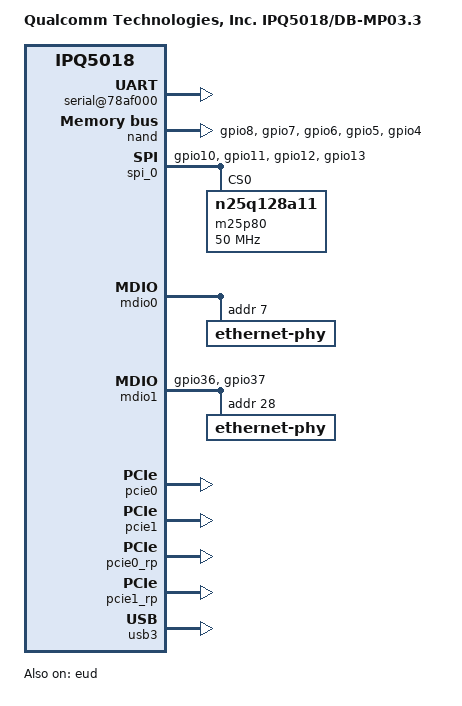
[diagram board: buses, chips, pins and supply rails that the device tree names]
/dts-v1/;
/* Copyright (c) 2018-2020, The Linux Foundation. All rights reserved.
 *
 * Permission to use, copy, modify, and/or distribute this software for any
 * purpose with or without fee is hereby granted, provided that the above
 * copyright notice and this permission notice appear in all copies.
 *
 * THE SOFTWARE IS PROVIDED "AS IS" AND THE AUTHOR DISCLAIMS ALL WARRANTIES
 * WITH REGARD TO THIS SOFTWARE INCLUDING ALL IMPLIED WARRANTIES OF
 * MERCHANTABILITY AND FITNESS. IN NO EVENT SHALL THE AUTHOR BE LIABLE FOR
 * ANY SPECIAL, DIRECT, INDIRECT, OR CONSEQUENTIAL DAMAGES OR ANY DAMAGES
 * WHATSOEVER RESULTING FROM LOSS OF USE, DATA OR PROFITS, WHETHER IN AN
 * ACTION OF CONTRACT, NEGLIGENCE OR OTHER TORTIOUS ACTION, ARISING OUT OF
 * OR IN CONNECTION WITH THE USE OR PERFORMANCE OF THIS SOFTWARE.
 */

#include "qcom-ipq5018.dtsi"

/ {
	#address-cells = <0x2>;
	#size-cells = <0x2>;
	model = "Qualcomm Technologies, Inc. IPQ5018/DB-MP03.3";
	compatible = "qcom,ipq5018-db-mp03.3", "qcom,ipq5018";
	interrupt-parent = <&intc>;

	aliases {
		sdhc1 = &sdhc_1; /* SDC1 eMMC slot */
		serial0 = &blsp1_uart1;
	};

	chosen {
		linux,initrd-end = <0x46000000>;
		linux,initrd-start = <0x44000000>;
		bootargs = "root=/dev/ram0 rw init=/init";
		stdout-path = "serial0";
	};

	soc {
		gcc: gcc@1800000 {
			gcc-use-dummy;
		};

		serial@78af000 {
			status = "ok";
		};

		qpic_bam: dma@7984000{
			status = "ok";
		};

		nand: qpic-nand@79b0000 {
			pinctrl-0 = <&qspi_nand_pins>;
			pinctrl-names = "default";
			status = "ok";
		};

		spi_0: spi@78b5000 { /* BLSP1 QUP0 */
			pinctrl-0 = <&blsp0_spi_pins>;
			pinctrl-names = "default";
			cs-select = <0>;
			status = "ok";

			m25p80@0 {
				#address-cells = <1>;
				#size-cells = <1>;
				reg = <0>;
				compatible = "n25q128a11";
				linux,modalias = "m25p80", "n25q128a11";
				spi-max-frequency = <50000000>;
				use-default-sizes;
			};
		};

		mdio0: mdio@88000 {
			status = "ok";

			ethernet-phy@0 {
				reg = <7>;
			};
		};

		mdio1: mdio@90000 {
			status = "ok";
			pinctrl-0 = <&mdio1_pins>;
			pinctrl-names = "default";
			phy-reset-gpio = <&tlmm 39 0>;

			ethernet-phy@0 {
				reg = <28>;
			};
		};

		ess-instance {
			num_devices = <0x1>;
			ess-switch@0x39c00000 {
				switch_mac_mode = <0xf>; /* mac mode for uniphy instance*/
				qcom,port_phyinfo {
					port@0 {
						port_id = <1>;
						phy_address = <7>;
					};
					port@1 {
						port_id = <2>;
						phy_address = <0x1c>;
					};
				};
			};
		};

		pcie0: pci@80000000 {
			status = "ok";
		};

		pcie1: pci@a0000000 {
			status = "ok";
		};

		wifi0: wifi@c000000 {
			status = "disabled";
		};

		qcom,test@0 {
			status = "ok";
		};

		pcie0_rp {
		        status = "ok";

			mhi_0: qcom,mhi@0 {
				reg = <0 0 0 0 0 >;
				qrtr_instance_id = <0x8001>;
			};
		};

		pcie1_rp {
		        status = "ok";

			mhi_1: qcom,mhi@1 {
				reg = <0 0 0 0 0 >;
				qrtr_instance_id = <0x8002>;
			};
		};
	};
};

&tlmm {
	pinctrl-0 = <&uart_pins>;
	pinctrl-names = "default";

	uart_pins: uart_pins {
		uart_rx_tx {
			pins = "gpio20", "gpio21";
			function = "blsp0_uart0";
			bias-disable;
		};
	};

	blsp0_spi_pins: blsp0_spi_pins {
		mux {
			pins = "gpio10", "gpio11", "gpio12", "gpio13";
			function = "blsp0_spi";
			drive-strength = <8>;
			bias-disable;
		};
	};

	qspi_nand_pins: qspi_nand_pins {
		qspi_cs {
				pins = "gpio8";
				function = "qspi_cs";
				drive-strength = <8>;
				bias-disable;
			};
		qspi_data_0 {
				pins = "gpio7";
				function = "qspi0";
				drive-strength = <8>;
				bias-disable;
			};
		qspi_data_1 {
				pins = "gpio6";
				function = "qspi1";
				drive-strength = <8>;
				bias-disable;
			};
		qspi_data_2 {
				pins = "gpio5";
				function = "qspi2";
				drive-strength = <8>;
				bias-disable;
			};
		qspi_data_3 {
				pins = "gpio4";
				function = "qspi3";
				drive-strength = <8>;
				bias-disable;
			};
	};

	mdio1_pins: mdio_pinmux {
		mux_0 {
			pins = "gpio36";
			function = "mdc";
			drive-strength = <8>;
			bias-pull-up;
		};

		mux_1 {
			pins = "gpio37";
			function = "mdio";
			drive-strength = <8>;
			bias-pull-up;
		};
	};
};

&usb3 {
	status = "ok";
};

&eud {
	status = "ok";
};

&pcie0 {
	status = "ok";
	perst-gpio = <&tlmm 15 1>;
};

&pcie1 {
	status = "ok";
	perst-gpio = <&tlmm 18 1>;
};
